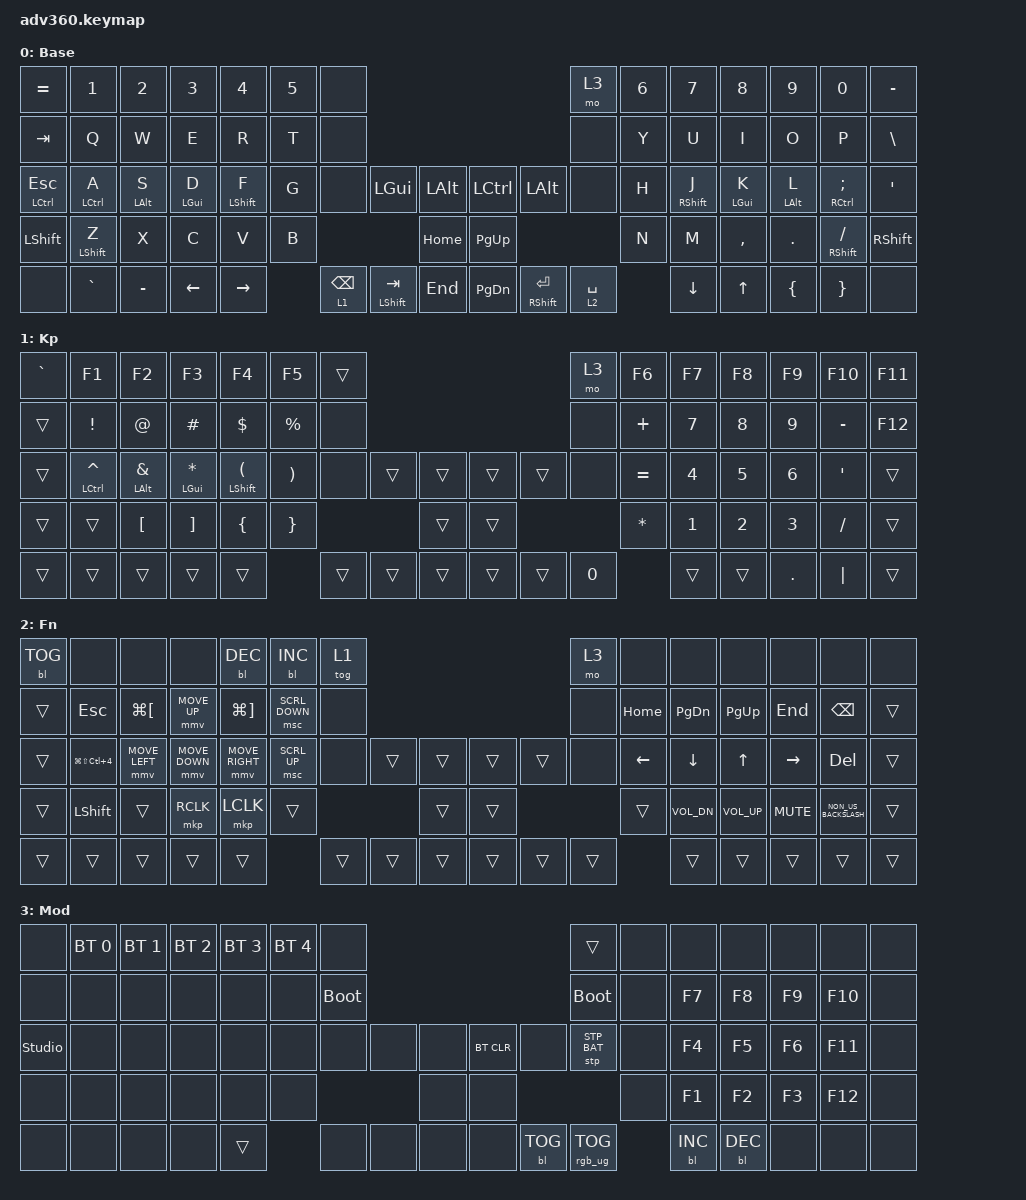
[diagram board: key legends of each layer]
#include <dt-bindings/zmk/stp.h>
#include <behaviors.dtsi>
#include <dt-bindings/zmk/backlight.h>
#include <dt-bindings/zmk/bt.h>
#include <dt-bindings/zmk/keys.h>
#include <dt-bindings/zmk/pointing.h>
#include <dt-bindings/zmk/rgb.h>

/ {
    behaviors {
        #include "macros.dtsi"
      #include "version.dtsi"

        hm: homerow_mods {
            compatible = "zmk,behavior-hold-tap";
            label = "HOMEROW_MODS";
            #binding-cells = <2>;
            tapping-term-ms = <200>;
            quick_tap_ms = <175>;
            flavor = "tap-preferred";
            bindings = <&kp>, <&kp>;

            hold-while-undecided;
            require-prior-idle-ms = <75>;
        };

        hmh: home_row_hold {
            compatible = "zmk,behavior-hold-tap";
            label = "HOME_ROW_HOLD";
            bindings = <&kp>, <&kp>;

            #binding-cells = <2>;
            tapping-term-ms = <200>;
            quick-tap-ms = <175>;
            hold-while-undecided;
        };
    };

    keymap {
        compatible = "zmk,keymap";

        default_layer {
            display-name = "Base";
            bindings = <
&kp EQUAL         &kp N1            &kp N2          &kp N3          &kp N4            &kp N5  &none                                                                                 &mo 3        &kp N6  &kp N7             &kp N8          &kp N9          &kp N0                  &kp MINUS
&kp TAB           &kp Q             &kp W           &kp E           &kp R             &kp T   &none                                                                                 &none        &kp Y   &kp U              &kp I           &kp O           &kp P                   &kp BSLH
&mt LCTRL ESCAPE  &hm LCTRL A       &hm LEFT_ALT S  &hm LEFT_GUI D  &hm LEFT_SHIFT F  &kp G   &none            &kp LEFT_GUI        &kp LALT      &kp LCTRL  &kp LEFT_ALT            &none        &kp H   &hm RIGHT_SHIFT J  &hm LEFT_GUI K  &hm LEFT_ALT L  &hm RCTRL SEMICOLON     &kp SQT
&kp LSHFT         &hm LEFT_SHIFT Z  &kp X           &kp C           &kp V             &kp B                                        &kp HOME      &kp PG_UP                                       &kp N   &kp M              &kp COMMA       &kp DOT         &hmh RIGHT_SHIFT SLASH  &kp RSHFT
&none             &kp GRAVE         &kp MINUS       &kp LEFT_ARROW  &kp RIGHT_ARROW           &lt 1 BACKSPACE  &mt LEFT_SHIFT TAB  &kp END       &kp PG_DN  &mt RIGHT_SHIFT RETURN  &lt 2 SPACE          &kp DOWN_ARROW     &kp UP_ARROW    &kp LEFT_BRACE  &kp RIGHT_BRACE         &none
            >;
        };

        keypad {
            display-name = "Kp";
            bindings = <
&kp GRAVE  &kp F1           &kp F2              &kp F3             &kp F4                       &kp F5                 &trans                                      &mo 3   &kp F6     &kp F7  &kp F8  &kp F9   &kp F10    &kp F11
&trans     &kp EXCL         &kp AT              &kp HASH           &kp DOLLAR                   &kp PERCENT            &none                                       &none   &kp PLUS   &kp N7  &kp N8  &kp N9   &kp MINUS  &kp F12
&trans     &mt LCTRL CARET  &mt LALT AMPERSAND  &mt LGUI ASTERISK  &mt LSHIFT LEFT_PARENTHESIS  &kp RIGHT_PARENTHESIS  &none   &trans  &trans      &trans  &trans  &none   &kp EQUAL  &kp N4  &kp N5  &kp N6   &kp SQT    &trans
&trans     &trans           &kp LBKT            &kp RBKT           &kp LEFT_BRACE               &kp RIGHT_BRACE                        &trans      &trans                  &kp STAR   &kp N1  &kp N2  &kp N3   &kp FSLH   &trans
&trans     &trans           &trans              &trans             &trans                                              &trans  &trans  &trans      &trans  &trans  &kp N0             &trans  &trans  &kp DOT  &kp PIPE   &trans
            >;
        };

        fn {
            display-name = "Fn";
            bindings = <
&bl BL_TOG  &none                     &none                 &none           &bl BL_DEC             &bl BL_INC      &tog 1                                      &mo 3   &none     &none          &none            &none       &none                 &none
&trans      &kp ESCAPE                &kp LG(LEFT_BRACKET)  &mmv MOVE_UP    &kp LG(RIGHT_BRACKET)  &msc SCRL_DOWN  &none                                       &none   &kp HOME  &kp PAGE_DOWN  &kp PAGE_UP      &kp END     &kp BACKSPACE         &trans
&trans      &kp LG(LS(LC(NUMBER_4)))  &mmv MOVE_LEFT        &mmv MOVE_DOWN  &mmv MOVE_RIGHT        &msc SCRL_UP    &none   &trans  &trans      &trans  &trans  &none   &kp LEFT  &kp DOWN       &kp UP_ARROW     &kp RIGHT   &kp DELETE            &trans
&trans      &kp LEFT_SHIFT            &trans                &mkp RCLK       &mkp LCLK              &trans                          &trans      &trans                  &trans    &kp C_VOL_DN   &kp C_VOLUME_UP  &kp C_MUTE  &kp NON_US_BACKSLASH  &trans
&trans      &trans                    &trans                &trans          &trans                                 &trans  &trans  &trans      &trans  &trans  &trans            &trans         &trans           &trans      &trans                &trans
            >;
        };

        mod {
            display-name = "Mod";
            bindings = <
&none           &bt BT_SEL 0  &bt BT_SEL 1  &bt BT_SEL 2  &bt BT_SEL 3  &bt BT_SEL 4  &none                                                  &trans           &none  &none       &none       &none   &none    &none
&none           &none         &none         &none         &none         &none         &bootloader                                            &bootloader      &none  &kp F7      &kp F8      &kp F9  &kp F10  &none
&studio_unlock  &none         &none         &none         &none         &none         &none        &none  &none      &bt BT_CLR  &none       &stp STP_BAT     &none  &kp F4      &kp F5      &kp F6  &kp F11  &none
&none           &none         &none         &none         &none         &none                             &none      &none                                    &none  &kp F1      &kp F2      &kp F3  &kp F12  &none
&none           &none         &none         &none         &trans                      &none        &none  &none      &none       &bl BL_TOG  &rgb_ug RGB_TOG         &bl BL_INC  &bl BL_DEC  &none   &none    &none
            >;
        };

        extra1 {
            display-name = "Red";
            status = "reserved";
        };

        extra2 {
            display-name = "Purple";
            status = "reserved";
        };

        extra3 {
            display-name = "Cyan";
            status = "reserved";
        };

        extra4 {
            display-name = "Yellow";
            status = "reserved";
        };
    };
};
